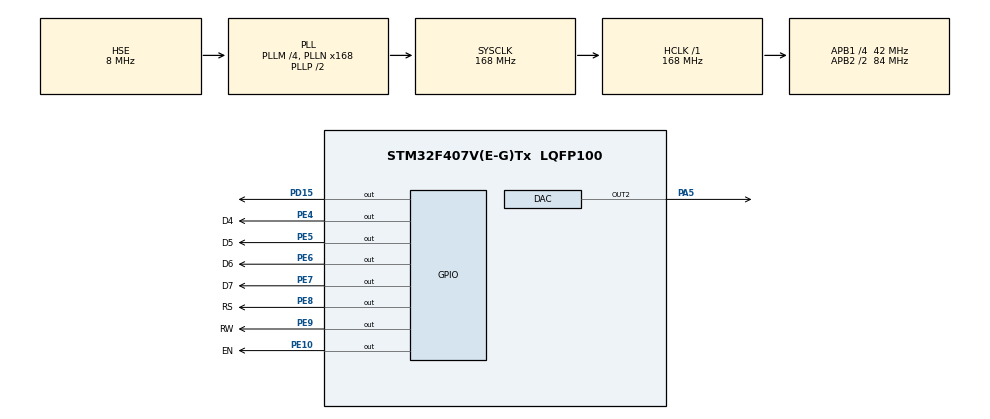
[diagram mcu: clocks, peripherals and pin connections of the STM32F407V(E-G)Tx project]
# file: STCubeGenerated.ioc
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Mcu.Family=STM32F4
Mcu.Name=STM32F407V(E-G)Tx
Mcu.Package=LQFP100
NVIC.PriorityGroup=NVIC_PRIORITYGROUP_4
NVIC.TIM7_IRQn=true\:1\:0\:true\:false\:true\:true\:true\:true
PA5.Signal=COMP_DAC2_group
PD15.Signal=GPIO_Output
PE10.GPIO_Label=EN
PE10.Signal=GPIO_Output
PE4.GPIO_Label=D4
PE4.Signal=GPIO_Output
PE5.GPIO_Label=D5
PE5.Signal=GPIO_Output
PE6.GPIO_Label=D6
PE6.Signal=GPIO_Output
PE7.GPIO_Label=D7
PE7.Signal=GPIO_Output
PE8.GPIO_Label=RS
PE8.Signal=GPIO_Output
PE9.GPIO_Label=RW
PE9.Signal=GPIO_Output
PH0-OSC_IN.Mode=HSE-External-Oscillator
PH0-OSC_IN.Signal=RCC_OSC_IN
PH1-OSC_OUT.Mode=HSE-External-Oscillator
PH1-OSC_OUT.Signal=RCC_OSC_OUT
ProjectManager.HeapSize=0x200
ProjectManager.StackSize=0x400
ProjectManager.TargetToolchain=MDK-ARM V5
RCC.48MHZClocksFreq_Value=84000000
RCC.AHBFreq_Value=168000000
RCC.APB1CLKDivider=RCC_HCLK_DIV4
RCC.APB1Freq_Value=42000000
RCC.APB1TimFreq_Value=84000000
RCC.APB2CLKDivider=RCC_HCLK_DIV2
RCC.APB2Freq_Value=84000000
RCC.APB2TimFreq_Value=168000000
RCC.CortexFreq_Value=168000000
RCC.HCLKFreq_Value=168000000
RCC.HSE_VALUE=8000000
RCC.HSI_VALUE=16000000
RCC.LSE_VALUE=32768
RCC.PLLM=4
RCC.PLLN=168
RCC.PLLSourceVirtual=RCC_PLLSOURCE_HSE
RCC.SYSCLKFreq_VALUE=168000000
RCC.SYSCLKSource=RCC_SYSCLKSOURCE_PLLCLK
RCC.VCOOutputFreq_Value=336000000
SH.COMP_DAC2_group.0=DAC_OUT2,DAC_OUT2
TIM7.Period=10499
TIM7.Prescaler=0
VP_TIM7_VS_ClockSourceINT.Mode=Enable_Timer
board=custom

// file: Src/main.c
/* USER CODE BEGIN Header */
/**
  ******************************************************************************
  * @file           : main.c
  * @brief          : Main program body
  ******************************************************************************
  * @attention
  *
  * Copyright (c) 2023 STMicroelectronics.

* All rights reserved.
  *
  * This software is licensed under terms that can be found in the LICENSE file
  * in the root directory of this software component.
  * If no LICENSE file comes with this software, it is provided AS-IS.
  *
  ******************************************************************************
  */
/* USER CODE END Header */
#include "main.h"

/* USER CODE BEGIN Includes */
#include "wav.h"

/* USER CODE END Includes */

DAC_HandleTypeDef hdac;

TIM_HandleTypeDef htim7;

void SystemClock_Config(void);
static void MX_GPIO_Init(void);
static void MX_TIM7_Init(void);
static void MX_DAC_Init(void);

/* USER CODE BEGIN 0 */

int i=0;

void HAL_TIM_PeriodElapsedCallback(TIM_HandleTypeDef *htim)
{

	// display control

	if (htim == &htim7 )
  {

		HAL_DAC_SetValue(&hdac, DAC_CHANNEL_2, DAC_ALIGN_12B_R, voice[i]<<4);
		if (i==NumOfData)
		{
			i=0;
		}

		i++;

	}

}

/* USER CODE END 0 */

int main(void)
{

  /* MCU Configuration--------------------------------------------------------*/

  /* Reset of all peripherals, Initializes the Flash interface and the Systick. */
  HAL_Init();

  /* Configure the system clock */
  SystemClock_Config();

  /* Initialize all configured peripherals */
  MX_GPIO_Init();
  MX_TIM7_Init();
  MX_DAC_Init();

  /* Infinite loop */
  /* USER CODE BEGIN WHILE */

	__HAL_DAC_ENABLE(&hdac, DAC_CHANNEL_2);

	char str[16];
	int a=60;

  while (1)
  {

		HAL_GPIO_TogglePin(GPIOD, GPIO_PIN_15);

    /* USER CODE END WHILE */

  }
}

void SystemClock_Config(void)
{
  RCC_OscInitTypeDef RCC_OscInitStruct = {0};
  RCC_ClkInitTypeDef RCC_ClkInitStruct = {0};

  /** Configure the main internal regulator output voltage
  */
  __HAL_RCC_PWR_CLK_ENABLE();
  __HAL_PWR_VOLTAGESCALING_CONFIG(PWR_REGULATOR_VOLTAGE_SCALE1);

  /** Initializes the RCC Oscillators according to the specified parameters
  * in the RCC_OscInitTypeDef structure.
  */
  RCC_OscInitStruct.OscillatorType = RCC_OSCILLATORTYPE_HSE;
  RCC_OscInitStruct.HSEState = RCC_HSE_ON;
  RCC_OscInitStruct.PLL.PLLState = RCC_PLL_ON;
  RCC_OscInitStruct.PLL.PLLSource = RCC_PLLSOURCE_HSE;
  RCC_OscInitStruct.PLL.PLLM = 4;
  RCC_OscInitStruct.PLL.PLLN = 168;
  RCC_OscInitStruct.PLL.PLLP = RCC_PLLP_DIV2;
  RCC_OscInitStruct.PLL.PLLQ = 4;
  if (HAL_RCC_OscConfig(&RCC_OscInitStruct) != HAL_OK)
  {
    Error_Handler();
  }

  /** Initializes the CPU, AHB and APB buses clocks
  */
  RCC_ClkInitStruct.ClockType = RCC_CLOCKTYPE_HCLK|RCC_CLOCKTYPE_SYSCLK
                              |RCC_CLOCKTYPE_PCLK1|RCC_CLOCKTYPE_PCLK2;
  RCC_ClkInitStruct.SYSCLKSource = RCC_SYSCLKSOURCE_PLLCLK;
  RCC_ClkInitStruct.AHBCLKDivider = RCC_SYSCLK_DIV1;
  RCC_ClkInitStruct.APB1CLKDivider = RCC_HCLK_DIV4;
  RCC_ClkInitStruct.APB2CLKDivider = RCC_HCLK_DIV2;

  if (HAL_RCC_ClockConfig(&RCC_ClkInitStruct, FLASH_LATENCY_5) != HAL_OK)
  {
    Error_Handler();
  }
}

static void MX_DAC_Init(void)
{

  DAC_ChannelConfTypeDef sConfig = {0};

  /** DAC Initialization
  */
  hdac.Instance = DAC;
  if (HAL_DAC_Init(&hdac) != HAL_OK)
  {
    Error_Handler();
  }

  /** DAC channel OUT2 config
  */
  sConfig.DAC_Trigger = DAC_TRIGGER_NONE;
  sConfig.DAC_OutputBuffer = DAC_OUTPUTBUFFER_ENABLE;
  if (HAL_DAC_ConfigChannel(&hdac, &sConfig, DAC_CHANNEL_2) != HAL_OK)
  {
    Error_Handler();
  }
  /* USER CODE BEGIN DAC_Init 2 */

	//HAL_DAC_Start(&sConfig, DAC_CHANNEL_1);

  /* USER CODE END DAC_Init 2 */

}

static void MX_TIM7_Init(void)
{

  /* USER CODE BEGIN TIM7_Init 0 */
	__HAL_RCC_TIM7_CLK_ENABLE();
	TIM_ClockConfigTypeDef sClockSourceConfig;
	sClockSourceConfig.ClockSource=TIM_CLOCKSOURCE_INTERNAL;
	sClockSourceConfig.ClockPrescaler=TIM_CLOCKPRESCALER_DIV1;	// no prescalar
  /* USER CODE END TIM7_Init 0 */

  TIM_MasterConfigTypeDef sMasterConfig = {0};

  htim7.Instance = TIM7;
  htim7.Init.Prescaler = 0;
  htim7.Init.CounterMode = TIM_COUNTERMODE_UP;
  htim7.Init.Period = 10499;
  htim7.Init.AutoReloadPreload = TIM_AUTORELOAD_PRELOAD_DISABLE;
  if (HAL_TIM_Base_Init(&htim7) != HAL_OK)
  {
    Error_Handler();
  }
  sMasterConfig.MasterOutputTrigger = TIM_TRGO_RESET;
  sMasterConfig.MasterSlaveMode = TIM_MASTERSLAVEMODE_DISABLE;
  if (HAL_TIMEx_MasterConfigSynchronization(&htim7, &sMasterConfig) != HAL_OK)
  {
    Error_Handler();
  }
  /* USER CODE BEGIN TIM7_Init 2 */
	HAL_TIM_ConfigClockSource (&htim7, &sClockSourceConfig);	// configure the clock source

	HAL_TIM_Base_Init(&htim7);
	HAL_TIM_Base_Start_IT(&htim7);

  // Initialize interrupt triggering
	HAL_NVIC_SetPriority(TIM7_IRQn, 1, 1);
  HAL_NVIC_EnableIRQ(TIM7_IRQn);// Enable interrupt from TIM3 (NVIC level)
  /* USER CODE END TIM7_Init 2 */

}

static void MX_GPIO_Init(void)
{
  GPIO_InitTypeDef GPIO_InitStruct = {0};

  /* GPIO Ports Clock Enable */
  __HAL_RCC_GPIOE_CLK_ENABLE();
  __HAL_RCC_GPIOH_CLK_ENABLE();
  __HAL_RCC_GPIOA_CLK_ENABLE();
  __HAL_RCC_GPIOD_CLK_ENABLE();

  /*Configure GPIO pin Output Level */
  HAL_GPIO_WritePin(GPIOE, D4_Pin|D5_Pin|D6_Pin|D7_Pin
                          |RS_Pin|RW_Pin|EN_Pin, GPIO_PIN_RESET);

  /*Configure GPIO pin Output Level */
  HAL_GPIO_WritePin(GPIOD, GPIO_PIN_15, GPIO_PIN_RESET);

  /*Configure GPIO pins : D4_Pin D5_Pin D6_Pin D7_Pin
                           RS_Pin RW_Pin EN_Pin */
  GPIO_InitStruct.Pin = D4_Pin|D5_Pin|D6_Pin|D7_Pin
                          |RS_Pin|RW_Pin|EN_Pin;
  GPIO_InitStruct.Mode = GPIO_MODE_OUTPUT_PP;
  GPIO_InitStruct.Pull = GPIO_NOPULL;
  GPIO_InitStruct.Speed = GPIO_SPEED_FREQ_LOW;
  HAL_GPIO_Init(GPIOE, &GPIO_InitStruct);

  /*Configure GPIO pin : PD15 */
  GPIO_InitStruct.Pin = GPIO_PIN_15;
  GPIO_InitStruct.Mode = GPIO_MODE_OUTPUT_PP;
  GPIO_InitStruct.Pull = GPIO_NOPULL;
  GPIO_InitStruct.Speed = GPIO_SPEED_FREQ_LOW;
  HAL_GPIO_Init(GPIOD, &GPIO_InitStruct);

}

void Error_Handler(void)
{
  __disable_irq();
  while (1)
  {
  }
}
